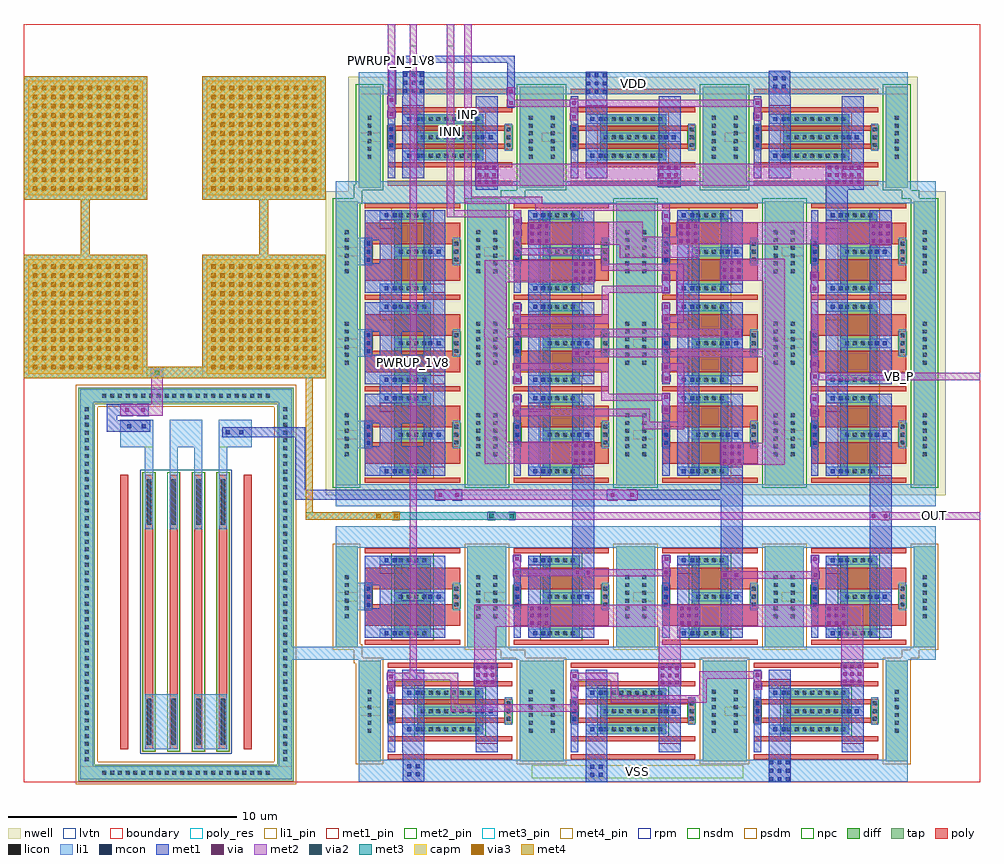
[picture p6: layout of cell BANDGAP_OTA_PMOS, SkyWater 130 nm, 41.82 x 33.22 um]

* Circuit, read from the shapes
.subckt BANDGAP_OTA_PMOS INN INP OUT PWRUP_1V8 PWRUP_N_1V8 VB_P VDD VSS
XM1 VSS VSS VSS VSS sky130_fd_pr__nfet_01v8 w=1.6 l=0.94 m=2
XM2 JNWATR_NCH_8C1F2_7/D PWRUP_1V8 VSS VSS sky130_fd_pr__nfet_01v8 w=2.88 l=0.22 m=6
XM3 JNWATR_NCH_4C5F0_10/D JNWATR_NCH_4C5F0_10/D JNWATR_NCH_8C1F2_7/D VSS sky130_fd_pr__nfet_01v8 w=1.6 l=0.94 m=2
XM4 JNWATR_NCH_4C5F0_12/D JNWATR_NCH_4C5F0_10/D JNWATR_NCH_8C1F2_7/D VSS sky130_fd_pr__nfet_01v8 w=1.6 l=0.94 m=2
XM5 OUT JNWATR_NCH_4C5F0_12/D JNWATR_NCH_8C1F2_7/D VSS sky130_fd_pr__nfet_01v8 w=1.6 l=0.94 m=2
XM6 VDD VDD VDD VDD sky130_fd_pr__pfet_01v8 w=1.6 l=0.94 m=6
XM7 JNWATR_PCH_8C1F2_15/D PWRUP_N_1V8 VDD VDD sky130_fd_pr__pfet_01v8 w=2.88 l=0.22 m=6
XM8 JNWATR_NCH_4C5F0_10/D INN JNWATR_PCH_4C5F0_11/D VDD sky130_fd_pr__pfet_01v8_lvt w=1.6 l=0.94 m=6
XM9 JNWATR_NCH_4C5F0_12/D INP JNWATR_PCH_4C5F0_11/D VDD sky130_fd_pr__pfet_01v8_lvt w=1.6 l=0.94 m=6
XM10 OUT VB_P JNWATR_PCH_8C1F2_15/D VDD sky130_fd_pr__pfet_01v8 w=1.6 l=0.94 m=2
XM11 JNWATR_PCH_4C5F0_11/D VB_P JNWATR_PCH_8C1F2_15/D VDD sky130_fd_pr__pfet_01v8 w=1.6 l=0.94 m=4
XC12 OUT JNWTR_CAPX4_0/A sky130_fd_pr__cap_mim_m3_1 w=5 l=5 m=4
XR13 JNWTR_CAPX4_0/A n1 VSS sky130_fd_pr__res_high_po w=0.36 l=7.24
XR14 n2 n1 VSS sky130_fd_pr__res_high_po w=0.36 l=7.24
XR15 n2 n3 VSS sky130_fd_pr__res_high_po w=0.36 l=7.24
XR16 JNWATR_NCH_4C5F0_12/D n3 VSS sky130_fd_pr__res_high_po w=0.36 l=7.24
.ends

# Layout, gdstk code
import gdstk
lib = gdstk.Library(unit=1e-6, precision=1e-09)
def R(c, l, rs):  # rectangles x0, y0, x1, y1
    for r in rs: c.add(gdstk.rectangle(r[:2], r[2:], *l))
def A(c, l, x, y, w, h, nx, ny, dx, dy):  # array of equal rectangles
    R(c, l, [(x+i*dx, y+j*dy, x+i*dx+w, y+j*dy+h) for i in range(nx) for j in range(ny)])
nwell = (64, 20)
diff = (65, 20)
tap = (65, 44)
poly_res = (66, 13)
poly = (66, 20)
licon = (66, 44)
li1_pin = (67, 16)
li1 = (67, 20)
mcon = (67, 44)
met1_pin = (68, 16)
met1 = (68, 20)
via = (68, 44)
met2_pin = (69, 16)
met2 = (69, 20)
via2 = (69, 44)
met3_pin = (70, 16)
met3 = (70, 20)
via3 = (70, 44)
met4_pin = (71, 16)
met4 = (71, 20)
rpm = (86, 20)
capm = (89, 44)
nsdm = (93, 44)
psdm = (94, 20)
npc = (95, 20)
lvtn = (125, 44)
boundary = (235, 4)

jnwtr_capx1 = lib.new_cell('JNWTR_CAPX1')
R(jnwtr_capx1, met3_pin, [(0,0,5.4,0.5)])
R(jnwtr_capx1, met3, [(0,0,5.4,5.4)])
A(jnwtr_capx1, via3, 0.4, 0.4, 0.2, 0.2, 12, 12, 0.4, 0.4)
R(jnwtr_capx1, met4_pin, [(0,0,5.4,0.5)])
R(jnwtr_capx1, met4, [(0,0,5.4,5.4)])
R(jnwtr_capx1, capm, [(0.2,0.2,5.2,5.2)])
R(jnwtr_capx1, boundary, [(0,0,5.4,5.4)])
jnwtr_capx1.add(gdstk.Label('A', (2.7,0.25), layer=70, texttype=5))
jnwtr_capx1.add(gdstk.Label('B', (2.7,0.25), layer=71, texttype=5))

jnwtr_capx4 = lib.new_cell('JNWTR_CAPX4')
R(jnwtr_capx4, met3_pin, [(2.4,0,7.8,0.5)])
R(jnwtr_capx4, met3, [(2.4,0,15.6,0.5), (4.9,0.5,5.3,8.3), (12.7,0.5,13.1,8.3)])
R(jnwtr_capx4, met4_pin, [(2.4,0,7.8,0.5)])
R(jnwtr_capx4, met4, [(2.4,0,15.6,0.5), (4.9,0.5,5.3,8.3), (12.7,0.5,13.1,8.3)])
R(jnwtr_capx4, boundary, [(2.4,0,15.6,13.2)])
jnwtr_capx4.add(gdstk.Reference(jnwtr_capx1, (2.4,0)))
jnwtr_capx4.add(gdstk.Reference(jnwtr_capx1, (2.4,7.8)))
jnwtr_capx4.add(gdstk.Reference(jnwtr_capx1, (10.2,0)))
jnwtr_capx4.add(gdstk.Reference(jnwtr_capx1, (10.2,7.8)))
jnwtr_capx4.add(gdstk.Label('A', (5.1,0.25), layer=70, texttype=5))
jnwtr_capx4.add(gdstk.Label('B', (5.1,0.25), layer=71, texttype=5))

jnwtr_res4 = lib.new_cell('JNWTR_RES4')
A(jnwtr_res4, poly_res, 0.9, 1.72, 0.36, 7.36, 4, 1, 1.08, 0)
A(jnwtr_res4, poly, -0.18, -0.6, 0.36, 12, 6, 1, 1.08, 0)
A(jnwtr_res4, licon, 0.985, -0.4, 0.19, 2, 4, 2, 1.08, 9.6)
R(jnwtr_res4, li1_pin, [(-0.18,12.6,1.26,13.8), (4.14,12.6,5.58,13.8)])
A(jnwtr_res4, li1, 0.9, 9, 0.36, 3.6, 4, 1, 1.08, 0)
A(jnwtr_res4, li1, -0.18, 12.6, 1.44, 1.2, 3, 1, 2.16, 0)
R(jnwtr_res4, li1, [(0.9,-0.6,2.34,1.8), (3.06,-0.6,4.5,1.8)])
R(jnwtr_res4, rpm, [(0.7,-0.8,4.7,11.6)])
A(jnwtr_res4, psdm, 0.79, -0.71, 0.58, 12.22, 4, 1, 1.08, 0)
A(jnwtr_res4, npc, 0.805, -0.695, 0.55, 12.19, 4, 1, 1.08, 0)
R(jnwtr_res4, boundary, [(0,0,5.4,13.2)])
jnwtr_res4.add(gdstk.Label('N', (0.54,13.2), layer=67, texttype=5))
jnwtr_res4.add(gdstk.Label('P', (4.86,13.2), layer=67, texttype=5))

jnwtr_rppo4 = lib.new_cell('JNWTR_RPPO4')
R(jnwtr_rppo4, tap, [(0,0,9.4,0.72), (0,0.72,0.72,16.48), (8.68,0.72,9.4,16.48), (0,16.48,9.4,17.2)])
A(jnwtr_rppo4, licon, 1.045, 0.275, 0.17, 0.17, 22, 2, 0.34, 16.48)
A(jnwtr_rppo4, licon, 0.275, 0.865, 0.17, 0.17, 1, 46, 0, 0.34)
A(jnwtr_rppo4, licon, 8.955, 0.865, 0.17, 0.17, 1, 46, 0, 0.34)
R(jnwtr_rppo4, li1_pin, [(0.08,0.08,9.32,0.64), (1.82,14.6,3.26,15.8), (6.14,14.6,7.58,15.8)])
R(jnwtr_rppo4, li1, [(0.08,0.08,9.32,0.64), (0.08,0.64,0.64,16.56), (8.76,0.64,9.32,16.56), (1.82,14.6,3.26,15.8), (6.14,14.6,7.58,15.8), (0.08,16.56,9.32,17.12)])
R(jnwtr_rppo4, psdm, [(-0.125,-0.125,9.525,0.845), (-0.125,0.845,0.845,16.355), (8.555,0.845,9.525,16.355), (-0.125,16.355,9.525,17.325)])
R(jnwtr_rppo4, boundary, [(0,0,9.4,17.2)])
jnwtr_rppo4.add(gdstk.Reference(jnwtr_res4, (2,2)))
jnwtr_rppo4.add(gdstk.Label('P', (6.86,15.2), layer=67, texttype=5))
jnwtr_rppo4.add(gdstk.Label('N', (2.54,15.2), layer=67, texttype=5))
jnwtr_rppo4.add(gdstk.Label('B', (4.7,0.36), layer=67, texttype=5))

jnwatr_nch_4c5f0 = lib.new_cell('JNWATR_NCH_4C5F0')
R(jnwatr_nch_4c5f0, diff, [(2.08,0.2,3.68,3.8)])
R(jnwatr_nch_4c5f0, tap, [(-0.48,-0.2,0.48,4.2), (5.28,-0.2,6.24,4.2)])
R(jnwatr_nch_4c5f0, poly, [(0.8,-0.11,4.96,0.11), (0.8,0.73,4.96,1.67), (0.8,1.67,1.12,2.33), (4.64,1.67,4.96,2.33), (0.8,2.33,4.96,3.27), (0.8,3.89,4.96,4.11)])
A(jnwatr_nch_4c5f0, licon, 2.285, 0.315, 0.17, 0.17, 4, 3, 0.34, 1.6)
A(jnwatr_nch_4c5f0, licon, -0.085, 1.065, 0.17, 0.17, 1, 6, 0, 0.34)
A(jnwatr_nch_4c5f0, licon, 5.675, 1.065, 0.17, 0.17, 1, 6, 0, 0.34)
A(jnwatr_nch_4c5f0, licon, 0.87, 1.575, 0.17, 0.17, 1, 3, 0, 0.34)
A(jnwatr_nch_4c5f0, licon, 4.71, 1.575, 0.17, 0.17, 1, 3, 0, 0.34)
R(jnwatr_nch_4c5f0, li1_pin, [(-0.48,1.8,0.48,2.2)])
R(jnwatr_nch_4c5f0, li1, [(-0.48,-0.2,0.48,4.2), (5.28,-0.2,6.24,4.2), (1.44,0.2,3.68,0.6), (0.8,1.4,1.12,2.6), (4.64,1.4,4.96,2.6), (2.08,1.8,4.32,2.2), (1.44,3.4,3.68,3.8)])
A(jnwatr_nch_4c5f0, mcon, 0.87, 1.555, 0.17, 0.17, 1, 3, 0, 0.36)
R(jnwatr_nch_4c5f0, mcon, [(1.655,0.315,1.825,0.485), (2.015,0.315,2.185,0.485), (3.575,1.915,3.745,2.085), (3.935,1.915,4.105,2.085), (1.655,3.515,1.825,3.685), (2.015,3.515,2.185,3.685)])
R(jnwatr_nch_4c5f0, met1_pin, [(3.36,0.2,4.32,0.6), (0.8,1.8,1.12,2.2), (1.44,3,2.4,3.4)])
R(jnwatr_nch_4c5f0, met1, [(0.8,0.2,1.12,3.8), (1.44,0.2,2.4,3.8), (3.36,0.2,4.32,3.8)])
R(jnwatr_nch_4c5f0, nsdm, [(1.955,0.075,3.805,3.925)])
R(jnwatr_nch_4c5f0, psdm, [(-0.605,-0.325,0.605,4.325), (5.155,-0.325,6.365,4.325)])
R(jnwatr_nch_4c5f0, npc, [(0.77,1.475,1.14,2.525), (4.61,1.475,4.98,2.525)])
R(jnwatr_nch_4c5f0, boundary, [(0,0,5.76,4)])
jnwatr_nch_4c5f0.add(gdstk.Label('D', (3.84,0.4), layer=68, texttype=5))
jnwatr_nch_4c5f0.add(gdstk.Label('G', (0.96,2), layer=68, texttype=5))
jnwatr_nch_4c5f0.add(gdstk.Label('S', (1.92,3.2), layer=68, texttype=5))
jnwatr_nch_4c5f0.add(gdstk.Label('B', (0,2), layer=67, texttype=5))

jnwatr_pch_4c5f0 = lib.new_cell('JNWATR_PCH_4C5F0')
R(jnwatr_pch_4c5f0, nwell, [(-0.92,-0.64,6.68,4.64)])
R(jnwatr_pch_4c5f0, diff, [(2.08,0.2,3.68,3.8)])
R(jnwatr_pch_4c5f0, tap, [(-0.48,-0.2,0.48,4.2), (5.28,-0.2,6.24,4.2)])
R(jnwatr_pch_4c5f0, poly, [(0.8,-0.11,4.96,0.11), (0.8,0.73,4.96,1.67), (0.8,1.67,1.12,2.33), (4.64,1.67,4.96,2.33), (0.8,2.33,4.96,3.27), (0.8,3.89,4.96,4.11)])
A(jnwatr_pch_4c5f0, licon, 2.285, 0.315, 0.17, 0.17, 4, 3, 0.34, 1.6)
A(jnwatr_pch_4c5f0, licon, -0.085, 1.065, 0.17, 0.17, 1, 6, 0, 0.34)
A(jnwatr_pch_4c5f0, licon, 5.675, 1.065, 0.17, 0.17, 1, 6, 0, 0.34)
A(jnwatr_pch_4c5f0, licon, 0.87, 1.575, 0.17, 0.17, 1, 3, 0, 0.34)
A(jnwatr_pch_4c5f0, licon, 4.71, 1.575, 0.17, 0.17, 1, 3, 0, 0.34)
R(jnwatr_pch_4c5f0, li1_pin, [(-0.48,1.8,0.48,2.2)])
R(jnwatr_pch_4c5f0, li1, [(-0.48,-0.2,0.48,4.2), (5.28,-0.2,6.24,4.2), (1.44,0.2,3.68,0.6), (0.8,1.4,1.12,2.6), (4.64,1.4,4.96,2.6), (2.08,1.8,4.32,2.2), (1.44,3.4,3.68,3.8)])
A(jnwatr_pch_4c5f0, mcon, 0.87, 1.555, 0.17, 0.17, 1, 3, 0, 0.36)
R(jnwatr_pch_4c5f0, mcon, [(1.655,0.315,1.825,0.485), (2.015,0.315,2.185,0.485), (3.575,1.915,3.745,2.085), (3.935,1.915,4.105,2.085), (1.655,3.515,1.825,3.685), (2.015,3.515,2.185,3.685)])
R(jnwatr_pch_4c5f0, met1_pin, [(3.36,0.2,4.32,0.6), (0.8,1.8,1.12,2.2), (1.44,3,2.4,3.4)])
R(jnwatr_pch_4c5f0, met1, [(0.8,0.2,1.12,3.8), (1.44,0.2,2.4,3.8), (3.36,0.2,4.32,3.8)])
R(jnwatr_pch_4c5f0, nsdm, [(-0.605,-0.325,0.605,4.325), (5.155,-0.325,6.365,4.325)])
R(jnwatr_pch_4c5f0, psdm, [(1.955,0.075,3.805,3.925)])
R(jnwatr_pch_4c5f0, npc, [(0.77,1.475,1.14,2.525), (4.61,1.475,4.98,2.525)])
R(jnwatr_pch_4c5f0, boundary, [(0,0,5.76,4)])
jnwatr_pch_4c5f0.add(gdstk.Label('D', (3.84,0.4), layer=68, texttype=5))
jnwatr_pch_4c5f0.add(gdstk.Label('G', (0.96,2), layer=68, texttype=5))
jnwatr_pch_4c5f0.add(gdstk.Label('S', (1.92,3.2), layer=68, texttype=5))
jnwatr_pch_4c5f0.add(gdstk.Label('B', (0,2), layer=67, texttype=5))

jnwatr_nch_8c1f2 = lib.new_cell('JNWATR_NCH_8C1F2')
R(jnwatr_nch_8c1f2, diff, [(2.08,1,4.96,3)])
R(jnwatr_nch_8c1f2, tap, [(-0.48,-0.2,0.48,4.2), (6.56,-0.2,7.52,4.2)])
A(jnwatr_nch_8c1f2, poly, 0.8, -0.11, 5.44, 0.22, 1, 6, 0, 0.8)
R(jnwatr_nch_8c1f2, poly, [(0.8,1.4,1.12,1.49), (5.92,1.4,6.24,1.49), (0.8,1.71,1.12,2.29), (5.92,1.71,6.24,2.29), (0.8,2.51,1.12,2.6), (5.92,2.51,6.24,2.6)])
A(jnwatr_nch_8c1f2, licon, -0.085, 1.065, 0.17, 0.17, 1, 6, 0, 0.34)
A(jnwatr_nch_8c1f2, licon, 6.955, 1.065, 0.17, 0.17, 1, 6, 0, 0.34)
A(jnwatr_nch_8c1f2, licon, 2.245, 1.115, 0.17, 0.17, 8, 3, 0.34, 0.8)
A(jnwatr_nch_8c1f2, licon, 0.87, 1.575, 0.17, 0.17, 1, 3, 0, 0.34)
A(jnwatr_nch_8c1f2, licon, 5.99, 1.575, 0.17, 0.17, 1, 3, 0, 0.34)
R(jnwatr_nch_8c1f2, li1_pin, [(-0.48,1.8,0.48,2.2)])
R(jnwatr_nch_8c1f2, li1, [(-0.48,-0.2,0.48,4.2), (6.56,-0.2,7.52,4.2), (1.44,1,4.96,1.4), (0.8,1.4,1.12,2.6), (5.92,1.4,6.24,2.6), (2.08,1.8,5.6,2.2), (1.44,2.6,4.96,3)])
A(jnwatr_nch_8c1f2, mcon, 0.87, 1.555, 0.17, 0.17, 1, 3, 0, 0.36)
R(jnwatr_nch_8c1f2, mcon, [(1.655,1.115,1.825,1.285), (2.015,1.115,2.185,1.285), (4.855,1.915,5.025,2.085), (5.215,1.915,5.385,2.085), (1.655,2.715,1.825,2.885), (2.015,2.715,2.185,2.885)])
R(jnwatr_nch_8c1f2, met1_pin, [(4.64,0.2,5.6,0.6), (0.8,1.8,1.12,2.2), (1.44,3,2.4,3.4)])
R(jnwatr_nch_8c1f2, met1, [(0.8,0.2,1.12,3.8), (1.44,0.2,2.4,3.8), (4.64,0.2,5.6,3.8)])
R(jnwatr_nch_8c1f2, nsdm, [(1.955,0.875,5.085,3.125)])
R(jnwatr_nch_8c1f2, psdm, [(-0.605,-0.325,0.605,4.325), (6.435,-0.325,7.645,4.325)])
R(jnwatr_nch_8c1f2, npc, [(0.77,1.475,1.14,2.525), (5.89,1.475,6.26,2.525)])
R(jnwatr_nch_8c1f2, boundary, [(0,0,7.04,4)])
jnwatr_nch_8c1f2.add(gdstk.Label('D', (5.12,0.4), layer=68, texttype=5))
jnwatr_nch_8c1f2.add(gdstk.Label('G', (0.96,2), layer=68, texttype=5))
jnwatr_nch_8c1f2.add(gdstk.Label('S', (1.92,3.2), layer=68, texttype=5))
jnwatr_nch_8c1f2.add(gdstk.Label('B', (0,2), layer=67, texttype=5))

jnwatr_pch_8c1f2 = lib.new_cell('JNWATR_PCH_8C1F2')
R(jnwatr_pch_8c1f2, nwell, [(-0.92,-0.64,7.96,4.64)])
R(jnwatr_pch_8c1f2, diff, [(2.08,1,4.96,3)])
R(jnwatr_pch_8c1f2, tap, [(-0.48,-0.2,0.48,4.2), (6.56,-0.2,7.52,4.2)])
A(jnwatr_pch_8c1f2, poly, 0.8, -0.11, 5.44, 0.22, 1, 6, 0, 0.8)
R(jnwatr_pch_8c1f2, poly, [(0.8,1.4,1.12,1.49), (5.92,1.4,6.24,1.49), (0.8,1.71,1.12,2.29), (5.92,1.71,6.24,2.29), (0.8,2.51,1.12,2.6), (5.92,2.51,6.24,2.6)])
A(jnwatr_pch_8c1f2, licon, -0.085, 1.065, 0.17, 0.17, 1, 6, 0, 0.34)
A(jnwatr_pch_8c1f2, licon, 6.955, 1.065, 0.17, 0.17, 1, 6, 0, 0.34)
A(jnwatr_pch_8c1f2, licon, 2.245, 1.115, 0.17, 0.17, 8, 3, 0.34, 0.8)
A(jnwatr_pch_8c1f2, licon, 0.87, 1.575, 0.17, 0.17, 1, 3, 0, 0.34)
A(jnwatr_pch_8c1f2, licon, 5.99, 1.575, 0.17, 0.17, 1, 3, 0, 0.34)
R(jnwatr_pch_8c1f2, li1_pin, [(-0.48,1.8,0.48,2.2)])
R(jnwatr_pch_8c1f2, li1, [(-0.48,-0.2,0.48,4.2), (6.56,-0.2,7.52,4.2), (1.44,1,4.96,1.4), (0.8,1.4,1.12,2.6), (5.92,1.4,6.24,2.6), (2.08,1.8,5.6,2.2), (1.44,2.6,4.96,3)])
A(jnwatr_pch_8c1f2, mcon, 0.87, 1.555, 0.17, 0.17, 1, 3, 0, 0.36)
R(jnwatr_pch_8c1f2, mcon, [(1.655,1.115,1.825,1.285), (2.015,1.115,2.185,1.285), (4.855,1.915,5.025,2.085), (5.215,1.915,5.385,2.085), (1.655,2.715,1.825,2.885), (2.015,2.715,2.185,2.885)])
R(jnwatr_pch_8c1f2, met1_pin, [(4.64,0.2,5.6,0.6), (0.8,1.8,1.12,2.2), (1.44,3,2.4,3.4)])
R(jnwatr_pch_8c1f2, met1, [(0.8,0.2,1.12,3.8), (1.44,0.2,2.4,3.8), (4.64,0.2,5.6,3.8)])
R(jnwatr_pch_8c1f2, nsdm, [(-0.605,-0.325,0.605,4.325), (6.435,-0.325,7.645,4.325)])
R(jnwatr_pch_8c1f2, psdm, [(1.955,0.875,5.085,3.125)])
R(jnwatr_pch_8c1f2, npc, [(0.77,1.475,1.14,2.525), (5.89,1.475,6.26,2.525)])
R(jnwatr_pch_8c1f2, boundary, [(0,0,7.04,4)])
jnwatr_pch_8c1f2.add(gdstk.Label('D', (5.12,0.4), layer=68, texttype=5))
jnwatr_pch_8c1f2.add(gdstk.Label('G', (0.96,2), layer=68, texttype=5))
jnwatr_pch_8c1f2.add(gdstk.Label('S', (1.92,3.2), layer=68, texttype=5))
jnwatr_pch_8c1f2.add(gdstk.Label('B', (0,2), layer=67, texttype=5))

leloatr_lvt_pch_4c5f0 = lib.new_cell('LELOATR_LVT_PCH_4C5F0')
R(leloatr_lvt_pch_4c5f0, nwell, [(-0.92,-0.64,6.68,4.64)])
R(leloatr_lvt_pch_4c5f0, diff, [(2.08,0.2,3.68,3.8)])
R(leloatr_lvt_pch_4c5f0, tap, [(-0.48,-0.2,0.48,4.2), (5.28,-0.2,6.24,4.2)])
R(leloatr_lvt_pch_4c5f0, poly, [(0.8,-0.11,4.96,0.11), (0.8,0.73,4.96,1.67), (0.8,1.67,1.12,2.33), (4.64,1.67,4.96,2.33), (0.8,2.33,4.96,3.27), (0.8,3.89,4.96,4.11)])
A(leloatr_lvt_pch_4c5f0, licon, 2.285, 0.315, 0.17, 0.17, 4, 3, 0.34, 1.6)
A(leloatr_lvt_pch_4c5f0, licon, -0.085, 1.065, 0.17, 0.17, 1, 6, 0, 0.34)
A(leloatr_lvt_pch_4c5f0, licon, 5.675, 1.065, 0.17, 0.17, 1, 6, 0, 0.34)
A(leloatr_lvt_pch_4c5f0, licon, 0.875, 1.575, 0.17, 0.17, 1, 3, 0, 0.34)
A(leloatr_lvt_pch_4c5f0, licon, 4.715, 1.575, 0.17, 0.17, 1, 3, 0, 0.34)
R(leloatr_lvt_pch_4c5f0, li1_pin, [(-0.48,1.8,0.48,2.2)])
R(leloatr_lvt_pch_4c5f0, li1, [(-0.48,-0.2,0.48,4.2), (5.28,-0.2,6.24,4.2), (1.44,0.2,3.68,0.6), (0.8,1.4,1.12,2.6), (4.64,1.4,4.96,2.6), (2.08,1.8,4.32,2.2), (1.44,3.4,3.68,3.8)])
A(leloatr_lvt_pch_4c5f0, mcon, 0.875, 1.555, 0.17, 0.17, 1, 3, 0, 0.36)
R(leloatr_lvt_pch_4c5f0, mcon, [(1.655,0.315,1.825,0.485), (2.015,0.315,2.185,0.485), (3.575,1.915,3.745,2.085), (3.935,1.915,4.105,2.085), (1.655,3.515,1.825,3.685), (2.015,3.515,2.185,3.685)])
R(leloatr_lvt_pch_4c5f0, met1_pin, [(3.36,0.2,4.32,0.6), (0.8,1.8,1.12,2.2), (1.44,3,2.4,3.4)])
R(leloatr_lvt_pch_4c5f0, met1, [(0.8,0.2,1.12,3.8), (1.44,0.2,2.4,3.8), (3.36,0.2,4.32,3.8)])
R(leloatr_lvt_pch_4c5f0, nsdm, [(-0.605,-0.325,0.605,4.325), (5.155,-0.325,6.365,4.325)])
R(leloatr_lvt_pch_4c5f0, psdm, [(1.955,0.075,3.805,3.925)])
R(leloatr_lvt_pch_4c5f0, npc, [(0.775,1.475,1.145,2.525), (4.615,1.475,4.985,2.525)])
R(leloatr_lvt_pch_4c5f0, lvtn, [(1.9,0.55,3.86,3.45)])
R(leloatr_lvt_pch_4c5f0, boundary, [(-0.92,-0.64,6.68,4.64)])
leloatr_lvt_pch_4c5f0.add(gdstk.Label('D', (3.84,0.4), layer=68, texttype=5))
leloatr_lvt_pch_4c5f0.add(gdstk.Label('G', (0.96,2), layer=68, texttype=5))
leloatr_lvt_pch_4c5f0.add(gdstk.Label('S', (1.92,3.2), layer=68, texttype=5))
leloatr_lvt_pch_4c5f0.add(gdstk.Label('B', (0,2), layer=67, texttype=5))

bandgap_ota_pmos = lib.new_cell('BANDGAP_OTA_PMOS')
R(bandgap_ota_pmos, li1_pin, [(20.02,48.13,29.26,48.69), (12.44,78.02,36.44,78.98)])
A(bandgap_ota_pmos, li1, 12.22, 62.54, 0.55, 1.2, 1, 3, 0, 4)
R(bandgap_ota_pmos, li1, [(12.44,47.97,36.44,48.865), (12.44,48.865,36.41,48.93), (12.44,49.09,13.4,50.06), (12.44,52.06,13.4,53.295), (19.48,52.06,21.4,53.295), (27.48,52.06,29.4,53.295), (35.48,52.06,36.44,53.295), (8.97,53.295,37.66,53.88), (11.44,53.88,12.41,53.96), (12.315,55.46,12.77,56.66), (19.21,56.95,22.32,57.27), (11.44,58.19,37.66,59.15), (11.44,60.02,37.66,60.98), (11.44,60.98,12.4,61.34), (11.44,61.66,12.4,61.98), (6.54,63.055,6.92,63.435), (7.13,63.055,7.51,63.435), (2.2,63.295,2.64,63.735), (2.835,63.295,3.275,63.735), (11.44,73.26,37.665,74.22), (12.44,77.38,13.4,78.02), (12.44,78.02,36.44,78.98)])
A(bandgap_ota_pmos, mcon, 30.395, 48.01, 0.17, 0.17, 3, 3, 0.36, 0.36)
A(bandgap_ota_pmos, mcon, 22.395, 78.045, 0.17, 0.17, 3, 3, 0.36, 0.36)
A(bandgap_ota_pmos, mcon, 14.395, 78.075, 0.17, 0.17, 3, 3, 0.36, 0.36)
R(bandgap_ota_pmos, mcon, [(22.575,48.19,22.745,48.36), (22.935,48.19,23.105,48.36), (14.575,48.21,14.745,48.38), (14.935,48.21,15.105,48.38), (22.575,48.55,22.745,48.72), (22.935,48.55,23.105,48.72), (14.575,48.57,14.745,48.74), (14.935,48.57,15.105,48.74), (6.645,63.16,6.815,63.33), (7.235,63.16,7.405,63.33), (2.335,63.43,2.505,63.6), (2.97,63.43,3.14,63.6), (30.575,78.275,30.745,78.445), (30.935,78.275,31.105,78.445), (30.575,78.635,30.745,78.805), (30.935,78.635,31.105,78.805)])
R(bandgap_ota_pmos, met1, [(30.36,47.945,31.32,51.38), (22.375,47.96,23.305,50.145), (14.375,47.98,15.305,50.145), (17.53,51.22,18.49,52.15), (33.56,51.22,34.52,52.175), (13.675,51.875,14.055,52.195), (21.725,51.9,22.045,52.28), (25.56,51.9,26.52,53.135), (29.725,51.955,30.045,52.335), (17.47,52.15,18.49,52.86), (33.535,52.175,34.52,53.12), (13.7,52.39,14.02,52.42), (21.72,52.39,22.04,52.42), (13.67,52.42,14.05,52.74), (21.69,52.42,22.07,52.74), (29.69,52.48,30.07,52.8), (13.7,52.74,14.02,52.77), (21.72,52.74,22.04,52.79), (17.47,52.86,18.52,53.12), (17.47,53.12,18.49,53.145), (33.535,53.12,34.495,53.195), (12.72,54.26,13.415,55.56), (14.115,54.26,16.24,55.9), (26.41,54.72,27.37,55.74), (32.84,54.72,33.8,55.74), (19.83,54.75,20.85,55.71), (14.16,56.22,16.24,57.86), (12.72,56.56,13.43,57.86), (34.78,56.67,35.74,61.885), (28.295,56.815,28.615,57.195), (28.775,56.845,29.155,57.165), (32.215,56.845,32.595,57.165), (19.205,56.92,19.525,57.3), (21.84,56.92,22.16,57.25), (25.725,56.92,26.045,57.3), (22.29,56.95,22.67,57.23), (22.72,57.14,22.74,57.23), (22.29,57.23,22.74,57.25), (21.78,57.25,22.74,61.865), (25.73,57.52,26.05,57.9), (32.2,57.545,32.58,57.865), (19.18,57.56,19.56,57.88), (28.28,57.61,29.24,60.29), (15.79,60.26,16.23,60.29), (16.53,60.26,16.97,60.29), (24.17,60.26,24.61,60.29), (9.665,60.29,16.97,60.73), (23.29,60.29,29.24,60.73), (9.665,60.73,10.105,63.025), (15.79,60.73,16.23,60.76), (16.53,60.73,16.97,60.76), (24.17,60.73,24.61,60.76), (28.28,60.73,29.24,61.83), (12.72,61.34,15.54,62.64), (28.25,61.83,29.27,62.79), (21.75,61.865,22.77,62.825), (35.47,61.885,35.74,62.205), (34.78,62.205,35.74,62.62), (26.36,62.95,27.32,63.755), (6.48,63.025,10.105,63.465), (32.86,63.04,33.82,66.48), (1.44,63.265,3.335,63.765), (19.86,63.3,20.82,65.535), (13.36,63.62,14.32,63.64), (12.72,63.64,15.54,63.695), (12.72,63.695,16.24,64.94), (26.73,63.755,27.32,64.345), (1.44,63.765,1.94,63.77), (1.44,63.77,1.905,63.975), (19.215,63.925,19.535,64.305), (2.065,63.945,2.565,63.975), (2.765,63.945,3.265,63.975), (32.175,63.965,32.555,64.285), (1.44,63.975,3.265,64.475), (25.69,64.09,26.07,64.41), (26.36,64.345,27.32,65.875), (2.065,64.475,2.565,64.505), (2.765,64.475,3.265,64.505), (32.205,64.505,32.525,64.885), (19.185,64.565,19.565,64.885), (25.69,64.62,26.07,64.94), (13.36,64.94,14.32,65.34), (15.28,64.94,16.24,65.34), (12.72,65.34,16.24,66.64), (19.19,65.37,19.57,65.69), (25.7,65.445,26.08,65.765), (32.19,65.53,32.57,65.85), (27.315,65.905,27.32,66.865), (25.69,65.935,26.07,66.255), (19.22,65.95,19.54,66.27), (19.86,66.015,20.82,66.22), (32.175,66.065,32.555,66.385), (21.8,66.495,22.175,66.93), (19.86,66.54,20.82,70.545), (22.265,66.55,22.645,66.87), (13.36,66.64,14.32,67.64), (15.28,66.64,16.24,67.64), (26.36,66.895,27.32,67.71), (32.86,67.02,33.82,69.785), (28.795,67.375,29.165,67.805), (28.31,67.43,28.69,67.75), (12.72,67.64,16.24,68.94), (34.78,67.78,35.74,70.695), (19.215,67.965,19.535,68.345), (25.69,68.03,26.07,68.35), (26.36,68.03,27.32,69.785), (25.72,68.35,26.04,68.56), (19.185,68.535,19.565,68.855), (25.685,68.56,26.065,68.88), (25.72,68.88,26.04,68.94), (13.36,68.94,14.32,69.34), (15.28,68.94,16.24,70.565), (12.72,69.34,14.32,70.005), (25.69,69.34,26.07,69.66), (32.205,69.34,32.525,69.72), (21.78,69.77,22.745,70.795), (25.69,69.805,26.07,70.125), (28.27,69.835,29.23,70.855), (32.175,69.91,32.555,70.23), (12.72,70.005,13.54,70.64), (19.225,70.975,19.545,71.815), (34.78,71.385,35.74,71.455), (19.865,71.425,20.825,72.445), (26.365,71.425,27.325,72.445), (34.75,71.455,35.77,72.415), (32.86,71.52,33.82,73.84), (12.72,71.64,13.54,72.94), (19.205,71.815,19.565,72.115), (25.69,71.98,26.07,72.3), (19.225,72.115,19.545,72.32), (19.195,72.32,19.22,72.64), (19.225,72.32,19.575,72.64), (34.78,72.415,35.74,72.85), (25.69,72.53,26.07,72.85), (19.225,72.64,19.545,72.95), (17.56,73.84,18.52,74.02), (32.86,73.84,34.52,75.01), (25.51,73.95,26.52,75.02), (17.53,74.02,18.55,74.98), (17.56,74.98,18.52,75.98), (33.56,75.01,34.52,75.98), (25.56,75.02,26.52,75.98), (14.365,75.665,15.315,79.025), (30.375,75.675,31.31,79.04), (22.36,75.82,23.32,79), (21.695,76.845,22.015,77.225), (29.695,76.895,30.075,77.215), (13.69,76.995,14.07,77.315), (18.94,77.44,19.26,77.985), (21.7,77.44,22.02,77.47), (21.67,77.47,22.05,77.79), (29.69,77.47,30.07,77.79), (13.69,77.59,14.08,77.94), (21.7,77.79,22.02,77.82), (13.76,77.94,14.08,79.39), (18.91,77.985,19.29,78.305), (18.94,78.305,19.26,79.39), (13.76,79.39,19.26,79.71)])
A(bandgap_ota_pmos, via, 25.645, 52.23, 0.15, 0.15, 3, 3, 0.32, 0.32)
A(bandgap_ota_pmos, via, 17.585, 52.25, 0.15, 0.15, 3, 3, 0.32, 0.32)
A(bandgap_ota_pmos, via, 33.62, 52.29, 0.15, 0.15, 3, 3, 0.32, 0.32)
A(bandgap_ota_pmos, via, 19.945, 54.835, 0.15, 0.15, 3, 3, 0.32, 0.32)
A(bandgap_ota_pmos, via, 26.495, 54.835, 0.15, 0.15, 3, 3, 0.32, 0.32)
A(bandgap_ota_pmos, via, 32.925, 54.835, 0.15, 0.15, 3, 3, 0.32, 0.32)
A(bandgap_ota_pmos, via, 28.365, 61.915, 0.15, 0.15, 3, 3, 0.32, 0.32)
A(bandgap_ota_pmos, via, 21.865, 61.95, 0.15, 0.15, 3, 3, 0.32, 0.32)
A(bandgap_ota_pmos, via, 21.865, 69.885, 0.15, 0.15, 3, 3, 0.32, 0.32)
A(bandgap_ota_pmos, via, 28.355, 69.95, 0.15, 0.15, 3, 3, 0.32, 0.32)
A(bandgap_ota_pmos, via, 19.95, 71.54, 0.15, 0.15, 3, 3, 0.32, 0.32)
A(bandgap_ota_pmos, via, 26.45, 71.54, 0.15, 0.15, 3, 3, 0.32, 0.32)
A(bandgap_ota_pmos, via, 34.865, 71.54, 0.15, 0.15, 3, 3, 0.32, 0.32)
A(bandgap_ota_pmos, via, 17.645, 74.105, 0.15, 0.15, 3, 3, 0.32, 0.32)
A(bandgap_ota_pmos, via, 25.605, 74.105, 0.15, 0.15, 3, 3, 0.32, 0.32)
A(bandgap_ota_pmos, via, 32.955, 74.105, 0.15, 0.15, 5, 3, 0.32, 0.32)
R(bandgap_ota_pmos, via, [(13.79,51.96,13.94,52.11), (21.81,52.015,21.96,52.165), (29.81,52.07,29.96,52.22), (13.785,52.505,13.935,52.655), (21.805,52.515,21.955,52.665), (29.805,52.565,29.955,52.715), (28.38,56.93,28.53,57.08), (28.89,56.93,29.04,57.08), (32.33,56.93,32.48,57.08), (19.29,57.035,19.44,57.185), (21.925,57.035,22.075,57.185), (22.405,57.035,22.555,57.185), (25.81,57.035,25.96,57.185), (32.315,57.63,32.465,57.78), (25.815,57.635,25.965,57.785), (19.295,57.645,19.445,57.795), (34.87,59.515,35.02,59.665), (35.395,59.515,35.545,59.665), (15.935,60.435,16.085,60.585), (16.675,60.435,16.825,60.585), (23.465,60.435,23.615,60.585), (24.315,60.435,24.465,60.585), (19.3,64.04,19.45,64.19), (32.29,64.05,32.44,64.2), (2.24,64.15,2.39,64.3), (2.94,64.15,3.09,64.3), (25.805,64.175,25.955,64.325), (32.29,64.62,32.44,64.77), (19.3,64.65,19.45,64.8), (25.805,64.705,25.955,64.855), (19.305,65.455,19.455,65.605), (25.815,65.53,25.965,65.68), (32.305,65.615,32.455,65.765), (25.805,66.02,25.955,66.17), (19.305,66.035,19.455,66.185), (32.29,66.15,32.44,66.3), (21.91,66.635,22.06,66.785), (22.38,66.635,22.53,66.785), (28.425,67.515,28.575,67.665), (28.905,67.515,29.055,67.665), (19.3,68.08,19.45,68.23), (25.805,68.115,25.955,68.265), (19.3,68.62,19.45,68.77), (25.8,68.645,25.95,68.795), (25.805,69.425,25.955,69.575), (32.29,69.455,32.44,69.605), (25.805,69.89,25.955,70.04), (32.29,69.995,32.44,70.145), (19.31,71.89,19.46,72.04), (25.805,72.065,25.955,72.215), (19.31,72.405,19.46,72.555), (25.805,72.615,25.955,72.765), (21.78,76.96,21.93,77.11), (29.81,76.98,29.96,77.13), (13.805,77.08,13.955,77.23), (19.025,77.555,19.175,77.705), (21.785,77.555,21.935,77.705), (29.805,77.555,29.955,77.705), (13.805,77.69,13.955,77.84), (19.025,78.07,19.175,78.22)])
R(bandgap_ota_pmos, met2_pin, [(14.67,52.42,14.99,80.13), (35.63,59.43,39.62,59.75), (32.54,65.53,39.605,65.85), (16.3,72.64,16.63,80.14), (17.06,73.23,17.38,81.07), (13.72,77.94,14.04,81.08)])
R(bandgap_ota_pmos, met2, [(16.47,51.03,22.04,51.35), (16.47,51.35,16.79,52.42), (21.72,51.35,22.04,51.93), (23.46,51.43,27.66,51.75), (23.46,51.75,23.78,52.42), (27.34,51.75,27.66,52.48), (13.705,51.845,14.025,52.39), (21.695,51.93,22.075,52.25), (29.695,51.985,30.075,52.305), (17.5,52.12,18.46,54.75), (25.53,52.145,26.55,53.105), (33.505,52.205,34.525,53.165), (21.72,52.25,22.045,52.42), (29.725,52.305,30.045,52.45), (13.7,52.39,14.025,52.42), (13.7,52.42,16.79,52.74), (21.72,52.42,23.78,52.44), (21.69,52.44,23.78,52.74), (29.72,52.45,30.045,52.48), (27.34,52.48,30.045,52.8), (13.7,52.74,14.02,52.77), (14.67,52.74,14.99,81.09), (21.69,52.74,22.07,52.76), (21.72,52.76,22.04,52.77), (29.72,52.8,30.04,52.83), (25.56,53.105,26.52,54.04), (33.535,53.165,34.495,54.75), (25.56,54.04,26.495,54.75), (19.86,54.72,20.82,54.75), (17.5,54.75,34.495,55.71), (19.86,55.71,20.82,55.74), (28.805,56.815,29.125,56.845), (32.245,56.815,32.565,56.845), (28.265,56.845,32.565,57.165), (22.32,56.92,22.64,56.95), (19.175,56.95,26.075,57.27), (28.805,57.165,29.125,57.195), (32.23,57.165,32.565,57.195), (32.23,57.195,32.55,57.895), (19.21,57.27,19.53,57.91), (22.32,57.27,22.64,57.3), (25.73,57.27,26.05,57.55), (25.7,57.55,26.08,57.87), (35.31,59.4,35.63,59.43), (19,59.405,19.28,59.43), (18.07,59.43,39.62,59.75), (19,59.75,19.28,59.775), (35.31,59.75,35.63,59.78), (23.32,60.26,23.76,60.29), (15.76,60.29,24.64,60.73), (23.32,60.73,23.76,60.76), (28.28,61.8,29.24,61.83), (28.28,61.83,31.06,62.79), (21.78,61.835,22.74,61.865), (17.95,61.865,22.74,62.825), (28.28,62.79,29.24,62.82), (30.1,62.79,31.06,66.525), (17.95,62.825,18.915,67.405), (21.78,62.825,22.74,62.855), (24.855,63.385,26.68,63.705), (24.855,63.705,25.175,63.955), (26.36,63.705,26.68,65.935), (32.205,63.935,32.525,64.535), (19.185,63.955,25.175,64.275), (2.035,63.975,3.88,64.475), (25.72,64.06,26.04,64.62), (19.215,64.275,19.535,64.915), (3.38,64.475,3.88,65.625), (32.175,64.535,32.555,64.855), (23.05,64.62,26.04,64.94), (32.205,64.855,32.525,65.5), (23.05,64.94,23.37,65.95), (25.72,64.94,26.04,64.97), (19.22,65.34,19.54,65.95), (25.73,65.415,26.05,65.905), (32.205,65.5,32.54,65.53), (32.205,65.53,39.605,65.85), (3.36,65.625,3.9,66.075), (32.205,65.85,32.54,65.88), (32.205,65.88,32.525,69.37), (25.72,65.905,26.05,65.935), (25.72,65.935,26.68,66.255), (19.19,65.95,23.37,66.27), (3.38,66.075,3.88,66.1), (25.72,66.255,26.04,66.285), (22.295,66.52,22.615,66.525), (21.77,66.525,31.065,66.9), (30.1,66.9,31.06,69.865), (28.34,67.4,28.66,67.405), (17.945,67.405,29.195,67.775), (17.95,67.775,18.915,69.8), (28.34,67.775,28.66,67.78), (19.185,67.995,23.385,68.315), (25.72,68,26.04,68.03), (25.715,68.03,26.65,68.35), (19.215,68.315,19.535,68.885), (23.065,68.315,23.385,69.34), (25.715,68.35,26.04,68.38), (26.33,68.35,26.65,70.3), (25.715,68.38,26.035,68.91), (25.72,69.31,26.04,69.34), (23.065,69.34,26.05,69.66), (32.175,69.37,32.555,69.69), (25.72,69.66,26.05,69.7), (32.205,69.69,32.525,70.26), (25.72,69.7,26.04,70.155), (17.95,69.8,22.775,70.765), (28.24,69.865,31.06,70.825), (23.05,70.3,26.65,70.62), (23.05,70.62,23.37,70.975), (23.855,70.885,27.335,71.435), (19.225,70.975,23.37,71.295), (19.225,71.295,19.545,72.64), (34.78,71.425,35.74,71.455), (19.825,71.435,27.335,71.455), (19.825,71.455,35.74,71.785), (19.825,71.785,24.865,72.445), (26.325,71.785,35.74,72.415), (25.72,71.95,26.04,72.92), (26.325,72.415,27.335,72.44), (34.78,72.415,35.74,72.445), (16.3,72.64,19.545,72.94), (20.16,72.92,26.04,73.23), (16.3,72.94,16.63,81.085), (17.06,73.23,26.04,73.24), (17.06,73.24,20.48,73.55), (17.06,73.55,17.38,81.07), (17.56,73.99,18.52,74.02), (25.48,74.01,26.52,74.02), (17.56,74.02,34.51,74.98), (17.56,74.98,18.52,75.01), (25.48,74.98,26.52,74.99), (29.725,76.865,30.045,77.44), (21.665,76.875,22.045,77.195), (13.72,76.965,14.04,81.08), (21.695,77.195,22.015,77.44), (21.695,77.44,22.02,77.47), (29.72,77.44,30.045,77.47), (18.91,77.47,30.045,77.79), (18.94,77.79,19.26,78.335), (21.7,77.79,22.02,77.82), (29.72,77.79,30.04,77.82)])
R(bandgap_ota_pmos, via2, [(18.155,59.49,18.355,59.69), (19.04,59.49,19.24,59.69), (3.53,65.75,3.73,65.95)])
R(bandgap_ota_pmos, met3, [(13.92,59.4,14.24,59.43), (18.09,59.405,18.42,59.43), (18.975,59.425,19.305,59.43), (10.125,59.43,19.305,59.75), (13.92,59.75,14.24,59.78), (18.09,59.75,18.42,59.775), (18.975,59.75,19.305,59.755), (3.38,65.6,3.88,66.1)])
R(bandgap_ota_pmos, via3, [(13.215,59.49,13.415,59.69), (13.98,59.49,14.18,59.69)])
R(bandgap_ota_pmos, met4, [(13.15,59.425,13.48,59.43), (13.915,59.425,14.245,59.43), (10.125,59.43,14.245,59.75), (10.125,59.75,10.445,65.925), (13.15,59.75,13.48,59.755), (13.915,59.75,14.245,59.755)])
R(bandgap_ota_pmos, nsdm, [(12.525,73.225,12.61,73.465), (19.025,73.45,19.735,73.465), (36.185,73.45,36.575,73.465), (12.23,73.465,12.61,73.815), (18.645,73.465,19.735,73.815), (36.185,73.465,36.955,73.815), (12.23,73.815,12.315,74.055), (18.645,73.815,19.355,73.83), (36.565,73.815,36.955,73.83)])
A(bandgap_ota_pmos, psdm, 13.875, 65.065, 1.85, 0.15, 4, 2, 6.5, 4)
R(bandgap_ota_pmos, psdm, [(12.23,53.145,12.315,53.385), (18.645,53.37,19.355,53.385), (36.565,53.37,36.955,53.385), (12.23,53.385,12.61,53.735), (18.645,53.385,19.735,53.735), (36.185,53.385,36.955,53.735), (12.525,53.735,12.61,53.975), (19.025,53.735,19.735,53.75), (36.185,53.735,36.575,53.75)])
R(bandgap_ota_pmos, boundary, [(-2.2,47.945,39.62,81.09)])
bandgap_ota_pmos.add(gdstk.Reference(jnwtr_capx4, (-4.6,65.6)))
bandgap_ota_pmos.add(gdstk.Reference(jnwtr_rppo4, (0.2,48)))
bandgap_ota_pmos.add(gdstk.Reference(jnwatr_nch_4c5f0, (11.92,54.06)))
bandgap_ota_pmos.add(gdstk.Reference(jnwatr_pch_4c5f0, (11.92,69.14)))
bandgap_ota_pmos.add(gdstk.Reference(jnwatr_pch_4c5f0, (11.92,65.14)))
bandgap_ota_pmos.add(gdstk.Reference(jnwatr_pch_4c5f0, (11.92,61.14)))
bandgap_ota_pmos.add(gdstk.Reference(jnwatr_nch_4c5f0, (31.42,54.06)))
bandgap_ota_pmos.add(gdstk.Reference(jnwatr_nch_8c1f2, (12.92,49.06)))
bandgap_ota_pmos.add(gdstk.Reference(jnwatr_nch_8c1f2, (20.92,49.06)))
bandgap_ota_pmos.add(gdstk.Reference(jnwatr_nch_8c1f2, (28.92,49.06)))
bandgap_ota_pmos.add(gdstk.Reference(jnwatr_nch_4c5f0, (18.42,54.06)))
bandgap_ota_pmos.add(gdstk.Reference(jnwatr_pch_4c5f0, (31.42,69.14)))
bandgap_ota_pmos.add(gdstk.Reference(jnwatr_nch_4c5f0, (24.92,54.06)))
bandgap_ota_pmos.add(gdstk.Reference(jnwatr_pch_4c5f0, (31.42,65.14)))
bandgap_ota_pmos.add(gdstk.Reference(jnwatr_pch_4c5f0, (31.42,61.14)))
bandgap_ota_pmos.add(gdstk.Reference(jnwatr_pch_8c1f2, (28.92,74.14)))
bandgap_ota_pmos.add(gdstk.Reference(jnwatr_pch_8c1f2, (20.92,74.14)))
bandgap_ota_pmos.add(gdstk.Reference(jnwatr_pch_8c1f2, (12.92,74.14)))
bandgap_ota_pmos.add(gdstk.Reference(leloatr_lvt_pch_4c5f0, (24.92,69.14)))
bandgap_ota_pmos.add(gdstk.Reference(leloatr_lvt_pch_4c5f0, (24.92,65.14)))
bandgap_ota_pmos.add(gdstk.Reference(leloatr_lvt_pch_4c5f0, (24.92,61.14)))
bandgap_ota_pmos.add(gdstk.Reference(leloatr_lvt_pch_4c5f0, (18.42,69.14)))
bandgap_ota_pmos.add(gdstk.Reference(leloatr_lvt_pch_4c5f0, (18.42,61.14)))
bandgap_ota_pmos.add(gdstk.Reference(leloatr_lvt_pch_4c5f0, (18.42,65.14)))
bandgap_ota_pmos.add(gdstk.Label('VSS', (24.64,48.41), layer=67, texttype=5))
bandgap_ota_pmos.add(gdstk.Label('VDD', (24.44,78.5), layer=67, texttype=5))
bandgap_ota_pmos.add(gdstk.Label('VB_P', (36.072,65.69), layer=69, texttype=5))
bandgap_ota_pmos.add(gdstk.Label('OUT', (37.625,59.59), layer=69, texttype=5))
bandgap_ota_pmos.add(gdstk.Label('INN', (16.465,76.39), layer=69, texttype=5))
bandgap_ota_pmos.add(gdstk.Label('PWRUP_1V8', (14.83,66.275), layer=69, texttype=5))
bandgap_ota_pmos.add(gdstk.Label('PWRUP_N_1V8', (13.88,79.51), layer=69, texttype=5))
bandgap_ota_pmos.add(gdstk.Label('INP', (17.22,77.15), layer=69, texttype=5))

lib.write_gds('BANDGAP_OTA_PMOS.gds')
